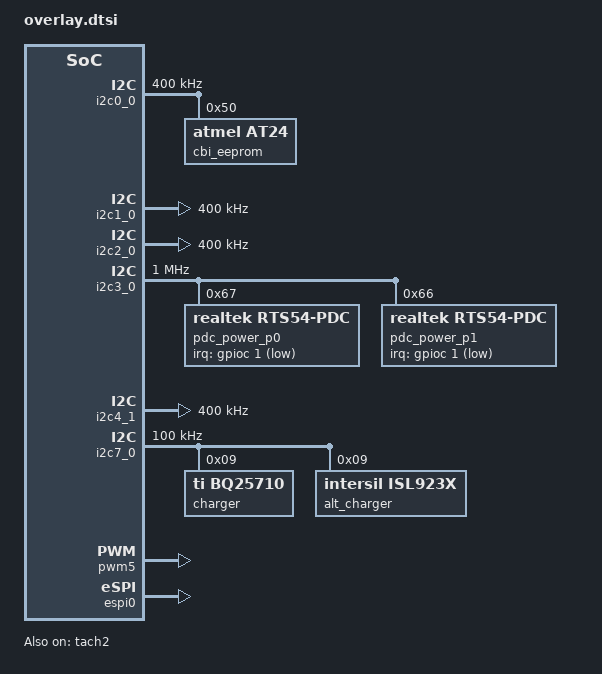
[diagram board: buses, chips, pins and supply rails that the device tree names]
/* Copyright 2024 The ChromiumOS Authors
 * Use of this source code is governed by a BSD-style license that can be
 * found in the LICENSE file.
 */

&adc_ec_vsense_pp3300_s5 {
	/*
	 * Voltage divider on input has 47k upper and 220k lower legs with
	 * 2714 mV full-scale reading on the ADC. Apply the largest possible
	 * multiplier (without overflowing int32) to get the best possible
	 * approximation of the actual ratio, but derate by a factor of two to
	 * ensure unexpectedly high values won't overflow.
	 */
	mul = <(791261 / 2)>;
	div = <(651975 / 2)>;
};

/* Set bus speeds for I2C */
&i2c0_0 {
	label = "I2C_EEPROM";
	clock-frequency = <I2C_BITRATE_FAST>;

	cbi_eeprom: eeprom@50 {
		compatible = "atmel,at24";
		reg = <0x50>;
		size = <2048>;
		pagesize = <16>;
		address-width = <8>;
		timeout = <5>;
	};
};

&i2c1_0 {
	label = "I2C_THERMAL";
	clock-frequency = <I2C_BITRATE_FAST>;
};

&i2c2_0 {
	label = "I2C_SENSOR";
	clock-frequency = <I2C_BITRATE_FAST>;
};

&i2c3_0 {
	label = "I2C_PORT_PD";
	clock-frequency = <I2C_BITRATE_FAST_PLUS>;

	pdc_power_p0: rts54-pdc@67 {
		compatible = "realtek,rts54-pdc";
		reg = <0x67>;
		irq-gpios = <&gpioc 1 GPIO_ACTIVE_LOW>;
	};
	pdc_power_p1: rts54-pdc@66 {
		compatible = "realtek,rts54-pdc";
		reg = <0x66>;
		irq-gpios = <&gpioc 1 GPIO_ACTIVE_LOW>;
		no-fw-update;
	};
};

&i2c4_1 {
	label = "I2C_ISH";
	clock-frequency = <I2C_BITRATE_FAST>;
};

&i2c7_0 {
	label = "I2C_BATTERY";
	label = "I2C_PORT_CHARGER";

	clock-frequency = <I2C_BITRATE_STANDARD>;
	charger: bq25710@9 {
		compatible = "ti,bq25710";
		status = "okay";
		reg = <0x9>;
	};

	alt_charger: isl9538@9 {
		compatible = "intersil,isl923x";
		status = "okay";
		reg = <0x9>;
	};
};

&pwm5_gpb7 {
	drive-open-drain;
};

&pwm5 {
	status = "okay";
	pinctrl-0 = <&pwm5_gpb7>;
	pinctrl-names = "default";
};

/* Tachometer for fan speed measurement */
&tach2 {
	status = "okay";
	pinctrl-0 = <&ta2_1_in_gp73>;
	pinctrl-names = "default";
	port = <NPCX_TACH_PORT_A>; /* port-A is selected */
	sample-clk = <NPCX_TACH_FREQ_LFCLK>; /* Use LFCLK as sampling clock */
	pulses-per-round = <2>; /* number of pulses per round of encoder */
};

/* host interface */
&espi0 {
	status = "okay";
	pinctrl-0 = <&espi_lpc_gp46_47_51_52_53_54_55_57>;
	pinctrl-names = "default";
};

/*
 * Declare GPIOs that have leakage current caused by board issues here. NPCX ec
 * will disable their input buffers before entering deep sleep and restore them
 * after waking up automatically for better power consumption.
 */
&power_leakage_io {
	leak-gpios = <&gpioa 4 (GPIO_OUTPUT | GPIO_VOLTAGE_1P8)
		      &gpiof 1 GPIO_OPEN_DRAIN>;
};
